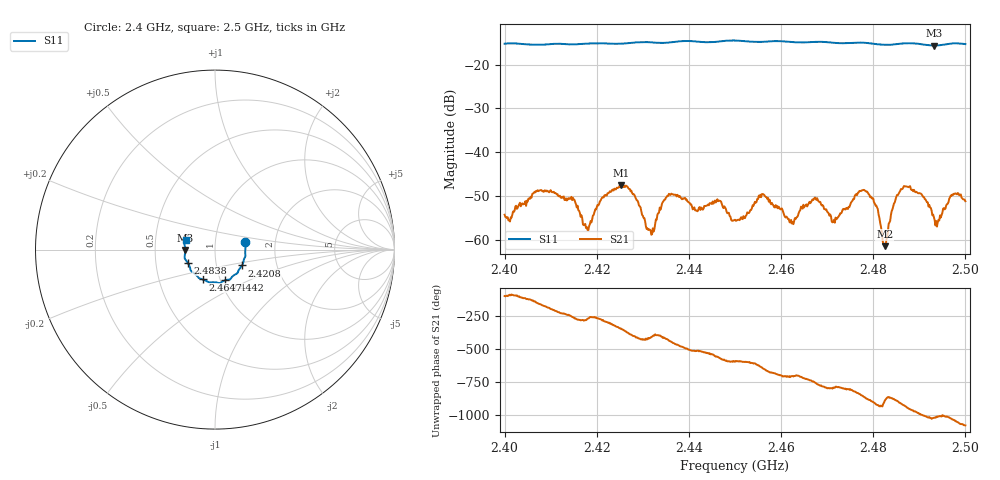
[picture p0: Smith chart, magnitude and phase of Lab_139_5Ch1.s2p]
# Hz S RI R 50
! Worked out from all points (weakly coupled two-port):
!   601 points, 2.4 GHz to 2.5 GHz, reference 50 ohm
!   highest |S21| = -47.54 dB at 2.4253 GHz (marker M1); lowest = -61.5 dB at 2.4825 GHz (marker M2)
!   lowest |S11| = -15.6 dB at 2.4932 GHz (marker M3), VSWR 1.40, Z = 35.8 - j0.098 ohm
!   |S11| at or under -10 dB: start of sweep to end of sweep
!   S12 and S22 are empty: the file has one direction only
!   S11 on the Smith chart (normalised r, x): 2.4 GHz: 1.40, +0.12; 2.4208 GHz: 1.33, -0.24; 2.4442 GHz: 1.05, -0.37; 2.4647 GHz: 0.83, -0.29; 2.4838 GHz: 0.73, -0.11; 2.5 GHz: 0.72, +0.08
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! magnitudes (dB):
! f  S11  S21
! 2.4 GHz  -15.2  -54.3
! 2.4077 GHz  -15.4  -48.7
! 2.4167 GHz  -15.3  -54.4
! 2.4208 GHz  -15.1  -51.1
! 2.4253 GHz  -15.2  -47.5
! 2.4315 GHz  -14.9  -57.7
! 2.4333 GHz  -15.0  -53.9
! 2.4362 GHz  -14.9  -49.5
! 2.4442 GHz  -14.9  -52.0
! 2.45 GHz  -14.5  -55.4
! 2.4557 GHz  -14.8  -50.3
! 2.4623 GHz  -14.8  -56.3
! 2.4647 GHz  -14.9  -52.9
! 2.4667 GHz  -14.8  -51.1
! 2.4715 GHz  -15.0  -55.4
! 2.4783 GHz  -15.0  -48.9
! 2.4825 GHz  -15.5  -61.5
! 2.4833 GHz  -15.5  -56.4
! 2.4838 GHz  -15.4  -54.4
! 2.4875 GHz  -15.1  -47.9
! 2.4932 GHz  -15.6  -54.9
! 2.5 GHz  -15.3  -51.2
